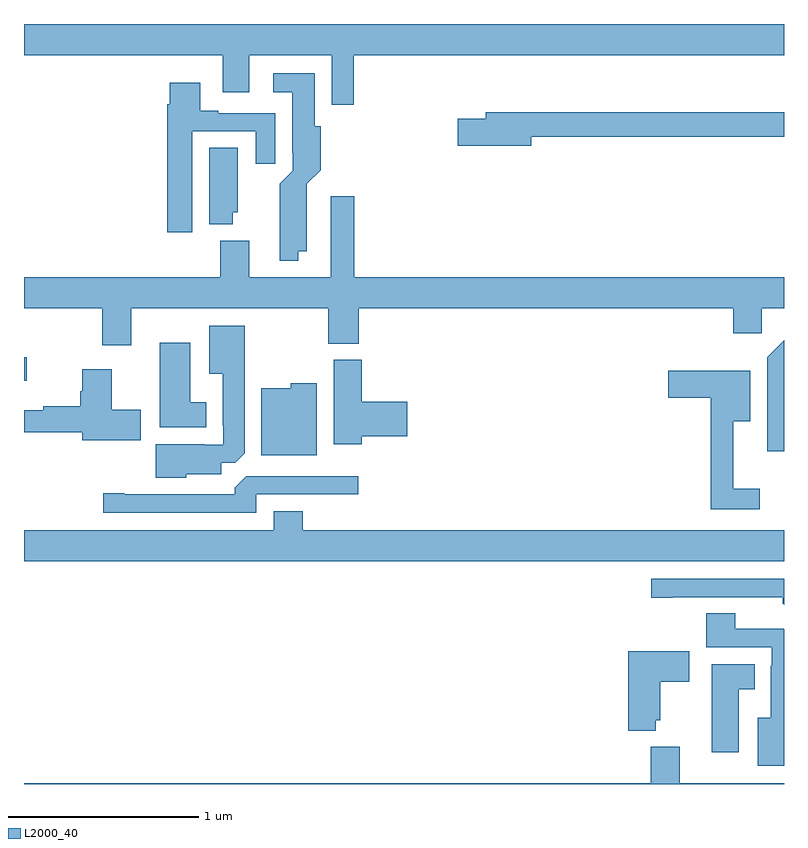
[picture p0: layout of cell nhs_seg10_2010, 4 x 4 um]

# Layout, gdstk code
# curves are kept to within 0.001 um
import gdstk
lib = gdstk.Library(unit=1e-6, precision=1e-09)
def R(c, l, rs):  # rectangles x0, y0, x1, y1
    for r in rs: c.add(gdstk.rectangle(r[:2], r[2:], *l))
def P(c, l, *ps):  # polygons
    for p in ps: c.add(gdstk.Polygon(p, *l))
L2000_40 = (2000, 40)

nhs_seg10_2010 = lib.new_cell('nhs_seg10_2010')
R(nhs_seg10_2010, L2000_40, [(217,1278.623,217.015,1278.745)])
P(nhs_seg10_2010, L2000_40, [(218.735,1280.336),(221,1280.336),(221,1280.5),(217,1280.5),(217,1280.336),(218.045,1280.336),(218.045,1280.142),(218.185,1280.142),(218.185,1280.336),(218.619,1280.336),(218.619,1280.076),(218.735,1280.076)],
  [(218.443,1279.304),(218.488,1279.304),(218.489,1279.658),(218.561,1279.73),(218.561,1279.962),(218.53,1279.962),(218.53,1280.242),(218.313,1280.242),(218.313,1280.141),(218.411,1280.141),(218.411,1279.822),(218.415,1279.822),(218.415,1279.728),(218.345,1279.658),(218.346,1279.253),(218.443,1279.253)],
  [(217.885,1279.935),(218.219,1279.935),(218.219,1279.764),(218.323,1279.764),(218.323,1280.031),(218.023,1280.031),(218.023,1280.044),(217.927,1280.044),(217.927,1280.191),(217.766,1280.191),(217.766,1280.078),(217.754,1280.078),(217.754,1279.404),(217.885,1279.404)],
  [(219.67,1279.906),(221,1279.906),(221,1280.035),(219.431,1280.035),(219.431,1280.001),(219.282,1280.001),(219.282,1279.859),(219.67,1279.859)],
  [(218.098,1279.509),(218.125,1279.509),(218.125,1279.85),(217.976,1279.85),(217.976,1279.445),(218.098,1279.445)],
  [(217.564,1279.004),(218.602,1279.004),(218.602,1278.817),(218.762,1278.817),(218.762,1279.004),(220.733,1279.004),(220.733,1278.873),(220.884,1278.873),(220.884,1279.004),(221,1279.004),(221,1279.168),(218.738,1279.168),(218.738,1279.594),(218.615,1279.594),(218.615,1279.168),(218.185,1279.168),(218.185,1279.36),(218.033,1279.36),(218.033,1279.168),(217,1279.168),(217,1279.004),(217.412,1279.004),(217.412,1278.81),(217.564,1278.81)],
  [(217.854,1278.131),(218.038,1278.131),(218.038,1278.192),(218.112,1278.192),(218.161,1278.241),(218.161,1278.913),(217.976,1278.913),(217.976,1278.659),(218.045,1278.659),(218.045,1278.385),(218.049,1278.385),(218.049,1278.285),(217.949,1278.285),(217.949,1278.289),(217.694,1278.289),(217.694,1278.113),(217.854,1278.113)],
  [(221,1278.836),(220.911,1278.747),(220.911,1278.252),(221,1278.252)],
  [(217.96,1278.508),(217.876,1278.508),(217.876,1278.823),(217.715,1278.823),(217.715,1278.377),(217.96,1278.377)],
  [(218.777,1278.329),(219.016,1278.329),(219.016,1278.512),(218.777,1278.512),(218.777,1278.732),(218.63,1278.732),(218.63,1278.288),(218.777,1278.288)],
  [(217.615,1278.471),(217.462,1278.471),(217.462,1278.682),(217.307,1278.682),(217.307,1278.567),(217.295,1278.567),(217.295,1278.488),(217.102,1278.488),(217.102,1278.468),(217,1278.468),(217,1278.352),(217.307,1278.352),(217.307,1278.308),(217.615,1278.308)],
  [(220.873,1278.055),(220.733,1278.055),(220.733,1278.41),(220.822,1278.41),(220.822,1278.675),(220.392,1278.675),(220.392,1278.533),(220.615,1278.533),(220.615,1277.946),(220.873,1277.946)],
  [(218.542,1278.61),(218.403,1278.61),(218.403,1278.583),(218.249,1278.583),(218.249,1278.23),(218.542,1278.23)],
  [(218.223,1278.024),(218.758,1278.024),(218.758,1278.12),(218.169,1278.12),(218.108,1278.058),(218.108,1278.024),(217.528,1278.024),(217.528,1278.029),(217.416,1278.029),(217.416,1277.928),(218.223,1277.928)],
  [(221,1277.836),(218.468,1277.836),(218.468,1277.935),(218.315,1277.935),(218.315,1277.836),(217,1277.836),(217,1277.672),(221,1277.672)],
  [(221,1277.58),(220.302,1277.58),(220.302,1277.479),(220.414,1277.479),(220.414,1277.484),(220.994,1277.484),(220.994,1277.45),(221,1277.444)],
  [(221,1277.314),(220.998,1277.316),(220.744,1277.316),(220.744,1277.399),(220.592,1277.399),(220.592,1277.22),(220.935,1277.22),(220.935,1277.123),(220.931,1277.123),(220.931,1276.849),(220.862,1276.849),(220.862,1276.595),(221,1276.595)],
  [(220.326,1276.835),(220.348,1276.835),(220.348,1277.038),(220.501,1277.038),(220.501,1277.2),(220.181,1277.2),(220.181,1276.781),(220.326,1276.781)],
  [(220.762,1277),(220.846,1277),(220.846,1277.131),(220.619,1277.131),(220.619,1276.668),(220.762,1276.668)],
  [(221,1276.504),(220.45,1276.504),(220.45,1276.696),(220.298,1276.696),(220.298,1276.504),(217,1276.504),(217,1276.5),(221,1276.5)])

lib.write_gds('nhs_seg10_2010.gds')
